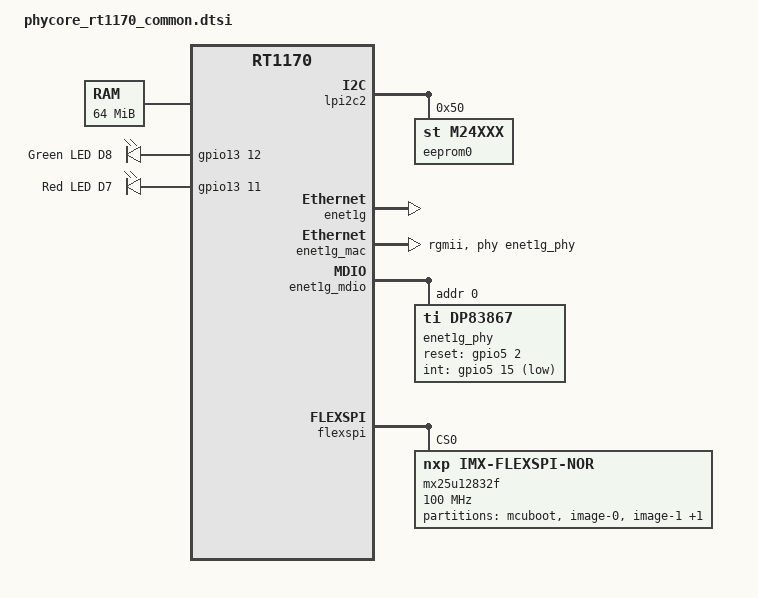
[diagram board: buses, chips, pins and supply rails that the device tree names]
/*
 * Copyright (c) 2025 PHYTEC America LLC
 * SPDX-License-Identifier: Apache-2.0
 */

#include <phytec/phycore_rt1170-pinctrl.dtsi>
#include <zephyr/dt-bindings/input/input-event-codes.h>

/ {
	sdram0: memory@80000000 {
		/* MT48LC16M16A2B4-7EIT */
		device_type = "memory";
		reg = <0x80000000 DT_SIZE_M(64)>;
	};

	leds {
		compatible = "gpio-leds";

		som_green_led: led-1 {
			gpios = <&gpio13 12 GPIO_ACTIVE_HIGH>;
			label = "Green LED D8";
		};

		som_red_led: led-2 {
			gpios = <&gpio13 11 GPIO_ACTIVE_HIGH>;
			label = "Red LED D7";
		};
	};

	soc {
		snvs: snvs@40c90000 {
			compatible = "nxp,imx-snvs";
			reg = <0x40c90000 0x4000>;

			snvs_rtc: rtc {
				compatible = "nxp,imx-snvs-rtc";
				interrupts = <66 0>;
			};
		};
	};
};

&lpi2c2 {
	pinctrl-0 = <&pinmux_lpi2c2>;
	pinctrl-names = "default";
	status = "okay";

	eeprom0: eeprom@50 {
		compatible = "st,m24xxx", "atmel,at24";
		reg = <0x50>;
		status = "okay";
		size = <256>;
		pagesize = <8>;
		address-width = <16>;
		timeout = <5>;
	};
};

&enet1g {
	status = "okay";
};

&enet1g_mac {
	status = "okay";
	pinctrl-0 = <&pinmux_enet1g>;
	pinctrl-names = "default";
	phy-handle = <&enet1g_phy>;
	phy-connection-type = "rgmii";
	zephyr,random-mac-address;
};

&enet1g_mdio {
	status = "okay";
	pinctrl-0 = <&pinmux_enet1g_mdio>;
	pinctrl-names = "default";

	enet1g_phy: phy@0 {
		compatible = "ti,dp83867";
		reg = <0>;
		status = "okay";
		reset-gpios = <&gpio5 2 GPIO_ACTIVE_HIGH>;
		int-gpios = <&gpio5 15 GPIO_ACTIVE_LOW>;
	};
};

&flexspi {
	pinctrl-0 = <&pinmux_flexspi1>;
	pinctrl-names = "default";
};

&flexspi {
	status = "okay";
	ahb-prefetch;
	ahb-read-addr-opt;
	rx-clock-source = <1>;
	reg = <0x400cc000 0x4000>, <0x30000000 DT_SIZE_M(16)>;

	mx25u12832f: mx25u12832f@0 {
		compatible = "nxp,imx-flexspi-nor";
		/* MX25U12832FM2I02 is 16MB, 128MBit flash part */
		size = <DT_SIZE_M(16 * 8)>;
		reg = <0>;
		spi-max-frequency = <100000000>;
		status = "okay";
		jedec-id = [c2 25 38];
		erase-block-size = <4096>;
		write-block-size = <1>;

		partitions {
			compatible = "fixed-partitions";
			#address-cells = <1>;
			#size-cells = <1>;

			boot_partition: partition@0 {
				label = "mcuboot";
				reg = <0x00000000 DT_SIZE_K(128)>;
			};

			/* Note slot 0 has one additional sector,
			 * this is intended for use with the swap move algorithm
			 */
			slot0_partition: partition@20000 {
				label = "image-0";
				reg = <0x00020000 0x301000>;
			};

			slot1_partition: partition@321000 {
				label = "image-1";
				reg = <0x00321000 0x300000>;
			};

			storage_partition: partition@621000 {
				label = "storage";
				reg = <0x00621000 DT_SIZE_K(1984)>;
			};
		};
	};
};
